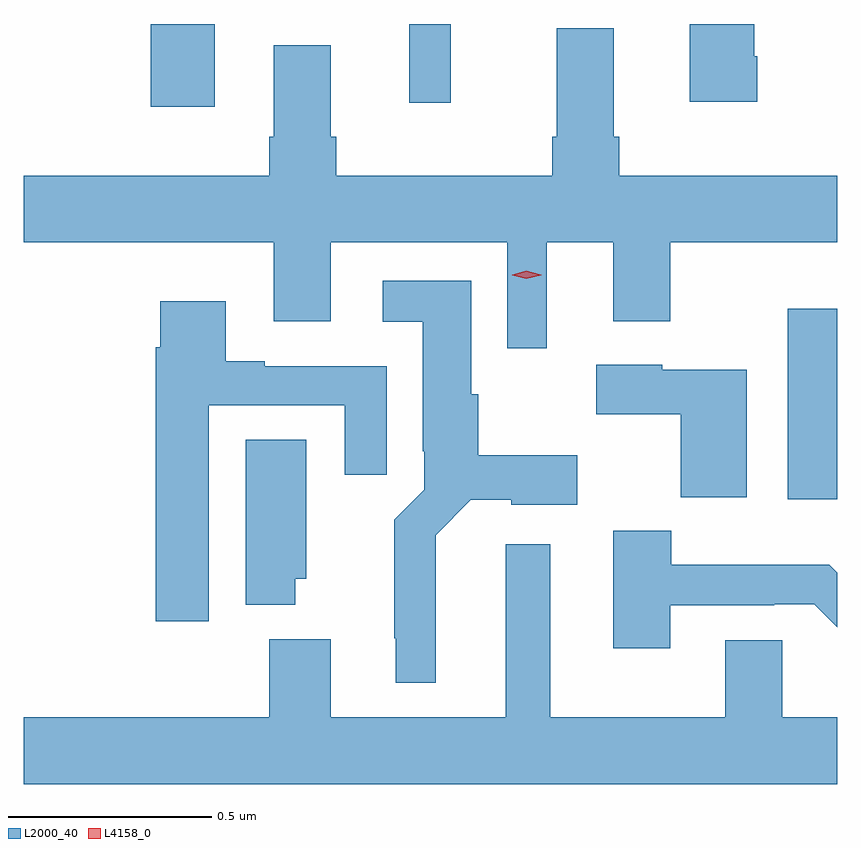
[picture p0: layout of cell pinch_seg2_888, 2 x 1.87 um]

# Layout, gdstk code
import gdstk
lib = gdstk.Library(unit=1e-6, precision=1e-09)
def R(c, l, rs):  # rectangles x0, y0, x1, y1
    for r in rs: c.add(gdstk.rectangle(r[:2], r[2:], *l))
def P(c, l, *ps):  # polygons
    for p in ps: c.add(gdstk.Polygon(p, *l))
L2000_40 = (2000, 40)
L4158_0 = (4158, 0)

pinch_seg2_888 = lib.new_cell('pinch_seg2_888')
R(pinch_seg2_888, L2000_40, [(553.196,597.72,553.318,598.189), (551.63,598.686,551.788,598.889), (552.266,598.695,552.368,598.889)])
P(pinch_seg2_888, L2000_40, [(553.122,598.81),(553.114,598.81),(553.114,598.889),(552.956,598.889),(552.956,598.698),(553.122,598.698)],
  [(552.604,598.352),(552.767,598.352),(552.767,598.158),(552.907,598.158),(552.907,598.352),(553.318,598.352),(553.318,598.516),(552.782,598.516),(552.782,598.612),(552.769,598.612),(552.769,598.879),(552.629,598.879),(552.629,598.612),(552.617,598.612),(552.617,598.516),(552.086,598.516),(552.086,598.612),(552.073,598.612),(552.073,598.837),(551.933,598.837),(551.933,598.612),(551.921,598.612),(551.921,598.516),(551.318,598.516),(551.318,598.352),(551.933,598.352),(551.933,598.158),(552.073,598.158),(552.073,598.352),(552.507,598.352),(552.507,598.092),(552.604,598.092)],
  [(552.331,597.632),(552.417,597.719),(552.516,597.719),(552.516,597.707),(552.679,597.707),(552.679,597.829),(552.436,597.829),(552.436,597.978),(552.418,597.978),(552.418,598.258),(552.201,598.258),(552.201,598.157),(552.299,598.157),(552.299,597.838),(552.303,597.838),(552.303,597.744),(552.229,597.67),(552.229,597.379),(552.233,597.379),(552.233,597.269),(552.331,597.269)],
  [(551.773,597.951),(552.107,597.951),(552.107,597.78),(552.211,597.78),(552.211,598.047),(551.911,598.047),(551.911,598.06),(551.815,598.06),(551.815,598.207),(551.654,598.207),(551.654,598.094),(551.642,598.094),(551.642,597.42),(551.773,597.42)],
  [(553.096,598.039),(552.888,598.039),(552.888,598.051),(552.726,598.051),(552.726,597.929),(552.934,597.929),(552.934,597.725),(553.096,597.725)],
  [(551.986,597.525),(552.013,597.525),(552.013,597.866),(551.864,597.866),(551.864,597.461),(551.986,597.461)],
  [(552.907,597.459),(553.163,597.459),(553.163,597.462),(553.262,597.462),(553.318,597.406),(553.318,597.54),(553.299,597.559),(552.91,597.559),(552.91,597.643),(552.767,597.643),(552.767,597.354),(552.907,597.354)],
  [(553.318,597.184),(553.183,597.184),(553.183,597.374),(553.043,597.374),(553.043,597.184),(552.613,597.184),(552.613,597.61),(552.503,597.61),(552.503,597.184),(552.073,597.184),(552.073,597.376),(551.921,597.376),(551.921,597.184),(551.318,597.184),(551.318,597.02),(553.318,597.02)])
P(pinch_seg2_888, L4158_0, [(552.554,598.262),(552.519,598.271),(552.519,598.272),(552.519,598.272),(552.554,598.282),(552.59,598.272),(552.59,598.272),(552.59,598.271)])

lib.write_gds('pinch_seg2_888.gds')
